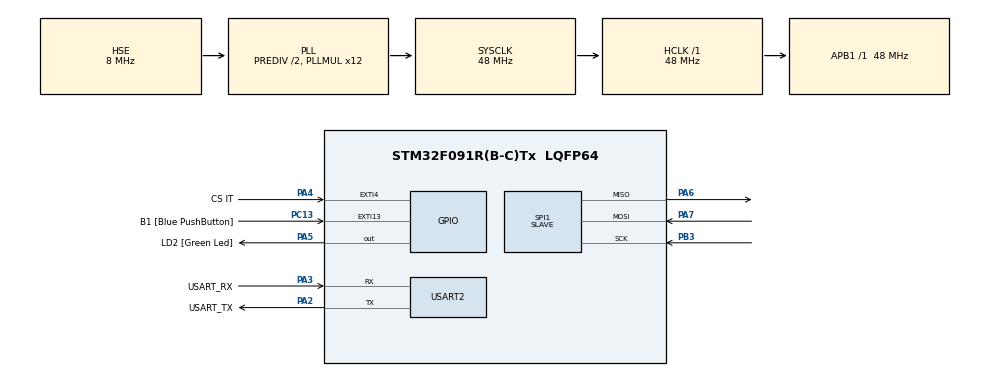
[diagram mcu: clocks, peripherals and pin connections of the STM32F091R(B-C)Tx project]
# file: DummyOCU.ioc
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Dma.Request0=SPI1_RX
Dma.Request1=SPI1_TX
Dma.SPI1_RX.0.Direction=DMA_PERIPH_TO_MEMORY
Dma.SPI1_RX.0.Instance=DMA1_Channel2
Dma.SPI1_RX.0.MemDataAlignment=DMA_MDATAALIGN_BYTE
Dma.SPI1_RX.0.MemInc=DMA_MINC_ENABLE
Dma.SPI1_RX.0.Mode=DMA_NORMAL
Dma.SPI1_RX.0.PeriphDataAlignment=DMA_PDATAALIGN_BYTE
Dma.SPI1_RX.0.PeriphInc=DMA_PINC_DISABLE
Dma.SPI1_RX.0.Priority=DMA_PRIORITY_LOW
Dma.SPI1_TX.1.Direction=DMA_MEMORY_TO_PERIPH
Dma.SPI1_TX.1.Instance=DMA1_Channel3
Dma.SPI1_TX.1.MemDataAlignment=DMA_MDATAALIGN_BYTE
Dma.SPI1_TX.1.MemInc=DMA_MINC_ENABLE
Dma.SPI1_TX.1.Mode=DMA_NORMAL
Dma.SPI1_TX.1.PeriphDataAlignment=DMA_PDATAALIGN_BYTE
Dma.SPI1_TX.1.PeriphInc=DMA_PINC_DISABLE
Dma.SPI1_TX.1.Priority=DMA_PRIORITY_LOW
Mcu.Family=STM32F0
Mcu.Name=STM32F091R(B-C)Tx
Mcu.Package=LQFP64
NVIC.DMA1_Ch2_3_DMA2_Ch1_2_IRQn=true\:0\:0\:false\:false\:true\:false\:true
NVIC.SPI1_IRQn=true\:0\:0\:false\:false\:true\:true\:true
PA13.GPIO_Label=TMS
PA13.Mode=Serial_Wire
PA13.Signal=SYS_SWDIO
PA14.GPIO_Label=TCK
PA14.Mode=Serial_Wire
PA14.Signal=SYS_SWCLK
PA2.GPIO_Label=USART_TX
PA2.GPIO_Mode=GPIO_MODE_AF_PP
PA2.GPIO_PuPd=GPIO_NOPULL
PA2.GPIO_Speed=GPIO_SPEED_FREQ_LOW
PA2.Mode=Asynchronous
PA2.Signal=USART2_TX
PA3.GPIO_Label=USART_RX
PA3.GPIO_Mode=GPIO_MODE_AF_PP
PA3.GPIO_PuPd=GPIO_NOPULL
PA3.GPIO_Speed=GPIO_SPEED_FREQ_LOW
PA3.Mode=Asynchronous
PA3.Signal=USART2_RX
PA4.GPIO_Label=CS IT
PA4.GPIO_ModeDefaultEXTI=GPIO_MODE_IT_FALLING
PA4.Signal=GPXTI4
PA5.GPIO_Label=LD2 [Green Led]
PA5.GPIO_Mode=GPIO_MODE_OUTPUT_PP
PA5.GPIO_PuPd=GPIO_NOPULL
PA5.GPIO_Speed=GPIO_SPEED_FREQ_LOW
PA5.Signal=GPIO_Output
PA6.Mode=Full_Duplex_Slave
PA6.Signal=SPI1_MISO
PA7.Mode=Full_Duplex_Slave
PA7.Signal=SPI1_MOSI
PB3.Mode=Full_Duplex_Slave
PB3.Signal=SPI1_SCK
PC13.GPIO_Label=B1 [Blue PushButton]
PC13.GPIO_ModeDefaultEXTI=GPIO_MODE_IT_FALLING
PC13.Signal=GPXTI13
PC14OSC32_IN.Mode=LSE-External-Oscillator
PC14OSC32_IN.Signal=RCC_OSC32_IN
PC15OSC32_OUT.Mode=LSE-External-Oscillator
PC15OSC32_OUT.Signal=RCC_OSC32_OUT
PF0-OSC_IN.Mode=HSE-External-Clock-Source
PF0-OSC_IN.Signal=RCC_OSC_IN
PF1-OSC_OUT.Signal=RCC_OSC_OUT
ProjectManager.HeapSize=0x200
ProjectManager.StackSize=0x400
ProjectManager.TargetToolchain=STM32CubeIDE
RCC.AHBFreq_Value=48000000
RCC.APB1Freq_Value=48000000
RCC.APB1TimFreq_Value=48000000
RCC.FLatency-AdvancedSettings=FLASH_LATENCY_1
RCC.HCLKFreq_Value=48000000
RCC.PLLDivider=RCC_PREDIV_DIV2
RCC.PLLMUL=RCC_PLL_MUL12
RCC.PLLSourceVirtual=RCC_PLLSOURCE_HSE
RCC.PREFETCH_ENABLE-AdvancedSettings=1
RCC.SYSCLKFreq_VALUE=48000000
RCC.SYSCLKSource=RCC_SYSCLKSOURCE_PLLCLK
SPI1.DataSize=SPI_DATASIZE_8BIT
SPI1.Direction=SPI_DIRECTION_2LINES
SPI1.Mode=SPI_MODE_SLAVE
SPI1.VirtualType=VM_SLAVE
TIM14.Period=5000 - 1
TIM14.Prescaler=10800 -1 
USART2.VirtualMode=VM_ASYNC
USART2.VirtualMode-Asynchronous=VM_ASYNC
VP_TIM14_VS_ClockSourceINT.Mode=Enable_Timer
board=NUCLEO-F091RC

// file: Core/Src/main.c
/* USER CODE BEGIN Header */
/**
  ******************************************************************************
  * @file           : main.c
  * @brief          : Main program body
  ******************************************************************************
  * @attention
  *
  * Copyright (c) 2022 STMicroelectronics.
  * All rights reserved.
  *
  * This software is licensed under terms that can be found in the LICENSE file
  * in the root directory of this software component.
  * If no LICENSE file comes with this software, it is provided AS-IS.
  *
  ******************************************************************************
  */
/* USER CODE END Header */
#include "main.h"

/* USER CODE BEGIN Includes */
#include "stdio.h"
#include "IntraSatComm.h"
#include "OBC_Header_OCU.h"
/* USER CODE END Includes */

SPI_HandleTypeDef hspi1;
DMA_HandleTypeDef hdma_spi1_rx;
DMA_HandleTypeDef hdma_spi1_tx;

TIM_HandleTypeDef htim14;

UART_HandleTypeDef huart2;

/* USER CODE BEGIN PV */
uint8_t buffer[15];

uint8_t transmit[12]; // transmit to the first response from OBC
uint8_t transmit_full[100]; // transmit the actual data to OBC

uint8_t argRet[100];
uint8_t receive[12]; // receive from first response of OBC
uint8_t receive_full[100]; // receive the actual data arguments from OBC

int state_transfer;
deframeReturn retVal;
int nextLen;
uint8_t id,len,cmd;
/* USER CODE END PV */

void SystemClock_Config(void);
static void MX_GPIO_Init(void);
static void MX_USART2_UART_Init(void);
static void MX_DMA_Init(void);
static void MX_SPI1_Init(void);
static void MX_TIM14_Init(void);

/* USER CODE BEGIN 0 */

/* This firmware is developed for OCU system of electric propulsion system*/
/* This is just developing stage */
/* Code Referenced from Parin Pipake */
/* Developed by Jeremy */
/* We use SPI Protocol with DMA to send data package and receive from OBC (motherboard) */

/* Clear Function for Buffers */
//void Clear(uint8_t *buffer, int len)
//{
//	for(int i = 0; i<len; i++)
//	{
//		buffer[i] = 0x00;
//	}
//};

/* Encrypting message to send to OBC */
void EncryptMessage(uint8_t cmd_id, uint8_t len, uint8_t *arg, uint8_t *buffer)
{
	PacketAssemble(OCU_BUS_ID, cmd_id, arg, len, buffer);
}
/*Disassembling the packet sent by OBC*/
deframeReturn BreakMessage(uint8_t *buffer_arg, uint8_t *buffer_msg, uint8_t length){
	return PacketDisassemble(&id, &len, &cmd, buffer_arg, buffer_msg, length);
};

/* Function to decrypt the buffers of OCU*/
void DecryptMessage(uint8_t *buffer)
{
	if(id != OCU_BUS_ID)
		return;
	switch(cmd)
	{
	case OCU_HANDSHAKE:
		nextLen = buffer[0] + 4 + 1 + 1 + 1 + 4;
		uint8_t arg[] = {0x00};
		EncryptMessage(OCU_HANDSHAKE, len, arg, transmit);
		break;
	case OCU_GET_CURRENT:
		nextLen = 20;
		uint8_t argCurrent[] = {0x00};
		EncryptMessage(OCU_GET_CURRENT, len, argCurrent, transmit_full);
		break;
	case OCU_GET_TEMPERATURE:
		nextLen = 12;
		uint8_t argTemp[] = {0x00};
		EncryptMessage(OCU_GET_TEMPERATURE, len, argTemp, transmit_full);
	case OCU_PRESSURE_DATA:
		nextLen = 8;
		uint8_t argPressure[] = {0x00};
		EncryptMessage(OCU_PRESSURE_DATA, len, argPressure, transmit_full);

	}
}

/* External Interrupt Callback Function */
void HAL_GPIO_EXTI_Callback(uint16_t GPIO_Pin)
{
	if(GPIO_Pin == CS_IT_Pin)
	{
		if(HAL_GPIO_ReadPin(CS_IT_GPIO_Port, CS_IT_Pin) == 1 )
		{

		}else if(HAL_GPIO_ReadPin(CS_IT_GPIO_Port, CS_IT_Pin) == 0 )
		{
			if(state_transfer == 0)
			{
				HAL_SPI_Receive_DMA(&hspi1,receive,12);
			}else if(state_transfer == 1)
			{
				HAL_SPI_Transmit_DMA(&hspi1, transmit, 12);
			}else if(state_transfer == 2)
			{
				HAL_SPI_Receive_DMA(&hspi1, receive_full, nextLen);
			}else if(state_transfer == 3)
			{
				HAL_SPI_Transmit_DMA(&hspi1, transmit_full, nextLen);
			}
		}
	}
};

void HAL_TIM_PeriodElapsedCallback(TIM_HandleTypeDef *htim)
{
	if(htim->Instance == htim14.Instance)
	{
		HAL_GPIO_TogglePin(GPIOB, GPIO_PIN_0);
	}
};

/* Callback SPI Transmit Function */
void HAL_SPI_TxCpltCallback(SPI_HandleTypeDef *hspi)
{
	if(hspi->Instance == hspi1.Instance)
	{
		if(state_transfer == 1)
		{
			state_transfer++;
		}else if(state_transfer == 3)
		{
			state_transfer = 0;
			nextLen = 0;
		}
	}
};

/* Callback SPI Receive Function */
void HAL_SPI_RxCpltCallback(SPI_HandleTypeDef *hspi)
{
	if(hspi->Instance == hspi1.Instance)
	{
		if(state_transfer == 0)
		{
			HAL_SPIEx_FlushRxFifo(&hspi1);
			retVal = BreakMessage(argRet,receive, sizeof(argRet));
			if(retVal != DEFRAME_OK)
			{
				HAL_SPI_DeInit(&hspi1);
				HAL_SPI_Init(&hspi1);
				MX_SPI1_Init();
				state_transfer = 0;
				return;
			}
			DecryptMessage(argRet);
			state_transfer++;
		}else if(state_transfer == 2)
		{
			HAL_SPIEx_FlushRxFifo(&hspi1);
			retVal = BreakMessage(argRet, receive_full, sizeof(argRet));
			if(retVal != DEFRAME_OK)
			{
				HAL_SPI_DeInit(&hspi1);
				HAL_SPI_Init(&hspi1);
				MX_SPI1_Init();
				state_transfer = 0;
				return;
			}
			DecryptMessage(argRet);
			state_transfer++;
		}
	}
};

void HAL_SPI_TxRxCpltCallback(SPI_HandleTypeDef *hspi)
{
	if(hspi->Instance == hspi1.Instance)
	{

	}
};

/* USER CODE END 0 */

int main(void)
{

  /* MCU Configuration--------------------------------------------------------*/

  /* Reset of all peripherals, Initializes the Flash interface and the Systick. */
  HAL_Init();

  /* Configure the system clock */
  SystemClock_Config();

  /* Initialize all configured peripherals */
  MX_GPIO_Init();
  MX_USART2_UART_Init();
  MX_DMA_Init();
  MX_SPI1_Init();
  MX_TIM14_Init();

  /* Infinite loop */
  while (1)
  {

  }
}

void SystemClock_Config(void)
{
  RCC_OscInitTypeDef RCC_OscInitStruct = {0};
  RCC_ClkInitTypeDef RCC_ClkInitStruct = {0};
  RCC_PeriphCLKInitTypeDef PeriphClkInit = {0};

  /** Initializes the RCC Oscillators according to the specified parameters
  * in the RCC_OscInitTypeDef structure.
  */
  RCC_OscInitStruct.OscillatorType = RCC_OSCILLATORTYPE_HSE;
  RCC_OscInitStruct.HSEState = RCC_HSE_BYPASS;
  RCC_OscInitStruct.PLL.PLLState = RCC_PLL_ON;
  RCC_OscInitStruct.PLL.PLLSource = RCC_PLLSOURCE_HSE;
  RCC_OscInitStruct.PLL.PLLMUL = RCC_PLL_MUL12;
  RCC_OscInitStruct.PLL.PREDIV = RCC_PREDIV_DIV2;
  if (HAL_RCC_OscConfig(&RCC_OscInitStruct) != HAL_OK)
  {
    Error_Handler();
  }
  /** Initializes the CPU, AHB and APB buses clocks
  */
  RCC_ClkInitStruct.ClockType = RCC_CLOCKTYPE_HCLK|RCC_CLOCKTYPE_SYSCLK
                              |RCC_CLOCKTYPE_PCLK1;
  RCC_ClkInitStruct.SYSCLKSource = RCC_SYSCLKSOURCE_PLLCLK;
  RCC_ClkInitStruct.AHBCLKDivider = RCC_SYSCLK_DIV1;
  RCC_ClkInitStruct.APB1CLKDivider = RCC_HCLK_DIV1;

  if (HAL_RCC_ClockConfig(&RCC_ClkInitStruct, FLASH_LATENCY_1) != HAL_OK)
  {
    Error_Handler();
  }
  PeriphClkInit.PeriphClockSelection = RCC_PERIPHCLK_USART2;
  PeriphClkInit.Usart2ClockSelection = RCC_USART2CLKSOURCE_PCLK1;
  if (HAL_RCCEx_PeriphCLKConfig(&PeriphClkInit) != HAL_OK)
  {
    Error_Handler();
  }
}

static void MX_SPI1_Init(void)
{

  /* SPI1 parameter configuration*/
  hspi1.Instance = SPI1;
  hspi1.Init.Mode = SPI_MODE_SLAVE;
  hspi1.Init.Direction = SPI_DIRECTION_2LINES;
  hspi1.Init.DataSize = SPI_DATASIZE_8BIT;
  hspi1.Init.CLKPolarity = SPI_POLARITY_LOW;
  hspi1.Init.CLKPhase = SPI_PHASE_1EDGE;
  hspi1.Init.NSS = SPI_NSS_SOFT;
  hspi1.Init.FirstBit = SPI_FIRSTBIT_MSB;
  hspi1.Init.TIMode = SPI_TIMODE_DISABLE;
  hspi1.Init.CRCCalculation = SPI_CRCCALCULATION_DISABLE;
  hspi1.Init.CRCPolynomial = 7;
  hspi1.Init.CRCLength = SPI_CRC_LENGTH_DATASIZE;
  hspi1.Init.NSSPMode = SPI_NSS_PULSE_DISABLE;
  if (HAL_SPI_Init(&hspi1) != HAL_OK)
  {
    Error_Handler();
  }

}

static void MX_TIM14_Init(void)
{

  htim14.Instance = TIM14;
  htim14.Init.Prescaler = 10800 -1 ;
  htim14.Init.CounterMode = TIM_COUNTERMODE_UP;
  htim14.Init.Period = 5000 - 1;
  htim14.Init.ClockDivision = TIM_CLOCKDIVISION_DIV1;
  htim14.Init.AutoReloadPreload = TIM_AUTORELOAD_PRELOAD_DISABLE;
  if (HAL_TIM_Base_Init(&htim14) != HAL_OK)
  {
    Error_Handler();
  }

}

static void MX_USART2_UART_Init(void)
{

  huart2.Instance = USART2;
  huart2.Init.BaudRate = 115200;
  huart2.Init.WordLength = UART_WORDLENGTH_8B;
  huart2.Init.StopBits = UART_STOPBITS_1;
  huart2.Init.Parity = UART_PARITY_NONE;
  huart2.Init.Mode = UART_MODE_TX_RX;
  huart2.Init.HwFlowCtl = UART_HWCONTROL_NONE;
  huart2.Init.OverSampling = UART_OVERSAMPLING_16;
  huart2.Init.OneBitSampling = UART_ONE_BIT_SAMPLE_DISABLE;
  huart2.AdvancedInit.AdvFeatureInit = UART_ADVFEATURE_NO_INIT;
  if (HAL_UART_Init(&huart2) != HAL_OK)
  {
    Error_Handler();
  }

}

static void MX_DMA_Init(void)
{

  /* DMA controller clock enable */
  __HAL_RCC_DMA1_CLK_ENABLE();

  /* DMA interrupt init */
  /* DMA1_Ch2_3_DMA2_Ch1_2_IRQn interrupt configuration */
  HAL_NVIC_SetPriority(DMA1_Ch2_3_DMA2_Ch1_2_IRQn, 0, 0);
  HAL_NVIC_EnableIRQ(DMA1_Ch2_3_DMA2_Ch1_2_IRQn);

}

static void MX_GPIO_Init(void)
{
  GPIO_InitTypeDef GPIO_InitStruct = {0};

  /* GPIO Ports Clock Enable */
  __HAL_RCC_GPIOC_CLK_ENABLE();
  __HAL_RCC_GPIOF_CLK_ENABLE();
  __HAL_RCC_GPIOA_CLK_ENABLE();
  __HAL_RCC_GPIOB_CLK_ENABLE();

  /*Configure GPIO pin Output Level */
  HAL_GPIO_WritePin(GPIOA, GPIO_PIN_5, GPIO_PIN_RESET);

  /*Configure GPIO pin : PC13 */
  GPIO_InitStruct.Pin = GPIO_PIN_13;
  GPIO_InitStruct.Mode = GPIO_MODE_IT_FALLING;
  GPIO_InitStruct.Pull = GPIO_NOPULL;
  HAL_GPIO_Init(GPIOC, &GPIO_InitStruct);

  /*Configure GPIO pin : PA4 */
  GPIO_InitStruct.Pin = GPIO_PIN_4;
  GPIO_InitStruct.Mode = GPIO_MODE_IT_FALLING;
  GPIO_InitStruct.Pull = GPIO_NOPULL;
  HAL_GPIO_Init(GPIOA, &GPIO_InitStruct);

  /*Configure GPIO pin : PA5 */
  GPIO_InitStruct.Pin = GPIO_PIN_5;
  GPIO_InitStruct.Mode = GPIO_MODE_OUTPUT_PP;
  GPIO_InitStruct.Pull = GPIO_NOPULL;
  GPIO_InitStruct.Speed = GPIO_SPEED_FREQ_LOW;
  HAL_GPIO_Init(GPIOA, &GPIO_InitStruct);

}

void Error_Handler(void)
{
  __disable_irq();
  while (1)
  {
  }
}
